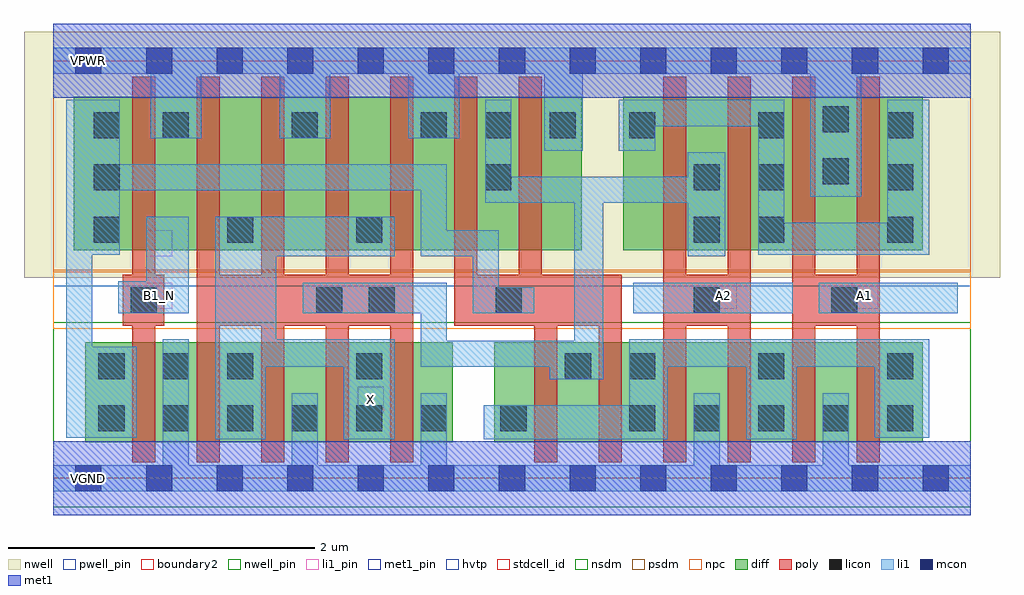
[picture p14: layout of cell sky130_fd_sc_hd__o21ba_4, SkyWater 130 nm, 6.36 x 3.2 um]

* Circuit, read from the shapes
.subckt sky130_fd_sc_hd__o21ba_4 A1 A2 B1_N VGND VNB VPB VPWR X
XM1 VGND B1_N n1 VNB sky130_fd_pr__nfet_01v8 w=0.65 l=0.15
XM2 X n2 VGND VNB sky130_fd_pr__nfet_01v8 w=0.65 l=0.15 m=4
XM3 n2 n1 n3 VNB sky130_fd_pr__nfet_01v8 w=0.65 l=0.15 m=2
XM4 VGND A2 n3 VNB sky130_fd_pr__nfet_01v8 w=0.65 l=0.15 m=2
XM5 VGND A1 n3 VNB sky130_fd_pr__nfet_01v8 w=0.65 l=0.15 m=2
XM6 VPWR B1_N n1 VPB sky130_fd_pr__pfet_01v8_hvt w=1 l=0.15
XM7 X n2 VPWR VPB sky130_fd_pr__pfet_01v8_hvt w=1 l=0.15 m=4
XM8 n2 n1 VPWR VPB sky130_fd_pr__pfet_01v8_hvt w=1 l=0.15 m=2
XM9 n2 A2 n4 VPB sky130_fd_pr__pfet_01v8_hvt w=1 l=0.15 m=2
XM10 VPWR A1 n4 VPB sky130_fd_pr__pfet_01v8_hvt w=1 l=0.15 m=2
.ends

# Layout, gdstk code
import gdstk
lib = gdstk.Library(unit=1e-6, precision=1e-09)
def R(c, l, rs):  # rectangles x0, y0, x1, y1
    for r in rs: c.add(gdstk.rectangle(r[:2], r[2:], *l))
def A(c, l, x, y, w, h, nx, ny, dx, dy):  # array of equal rectangles
    R(c, l, [(x+i*dx, y+j*dy, x+i*dx+w, y+j*dy+h) for i in range(nx) for j in range(ny)])
def P(c, l, *ps):  # polygons
    for p in ps: c.add(gdstk.Polygon(p, *l))
nwell_pin = (64, 16)
nwell = (64, 20)
diff = (65, 20)
poly = (66, 20)
licon = (66, 44)
li1_pin = (67, 16)
li1 = (67, 20)
mcon = (67, 44)
met1_pin = (68, 16)
met1 = (68, 20)
hvtp = (78, 44)
stdcell_id = (81, 4)
nsdm = (93, 44)
psdm = (94, 20)
npc = (95, 20)
pwell_pin = (122, 16)
boundary2 = (236, 0)

sky130_fd_sc_hd__o21ba_4 = lib.new_cell('sky130_fd_sc_hd__o21ba_4')
R(sky130_fd_sc_hd__o21ba_4, nwell_pin, [(0.145,2.635,0.315,2.805)])
R(sky130_fd_sc_hd__o21ba_4, nwell, [(-0.19,1.305,6.17,2.91)])
R(sky130_fd_sc_hd__o21ba_4, diff, [(0.21,0.235,2.605,0.885), (2.875,0.235,5.665,0.885), (0.135,1.485,3.445,2.485), (3.715,1.485,5.665,2.485)])
P(sky130_fd_sc_hd__o21ba_4, poly, [(3.975,0.105),(3.975,2.615),(4.125,2.615),(4.125,1.325),(4.395,1.325),(4.395,2.615),(4.545,2.615),(4.545,0.105),(4.395,0.105),(4.395,0.995),(4.125,0.995),(4.125,0.105)],
  [(4.815,0.105),(4.815,2.615),(4.965,2.615),(4.965,1.325),(5.235,1.325),(5.235,2.615),(5.385,2.615),(5.385,0.105),(5.235,0.105),(5.235,0.995),(4.965,0.995),(4.965,0.105)],
  [(0.935,0.105),(0.935,2.615),(1.085,2.615),(1.085,1.325),(1.355,1.325),(1.355,2.615),(1.505,2.615),(1.505,1.325),(1.775,1.325),(1.775,2.615),(1.925,2.615),(1.925,1.325),(2.195,1.325),(2.195,2.615),(2.345,2.615),(2.345,0.105),(2.195,0.105),(2.195,0.995),(1.925,0.995),(1.925,0.105),(1.775,0.105),(1.775,0.995),(1.505,0.995),(1.505,0.105),(1.355,0.105),(1.355,0.995),(1.085,0.995),(1.085,0.105)],
  [(3.135,0.105),(3.135,0.995),(2.615,0.995),(2.615,2.615),(2.765,2.615),(2.765,1.325),(3.035,1.325),(3.035,2.615),(3.185,2.615),(3.185,1.325),(3.705,1.325),(3.705,0.105),(3.555,0.105),(3.555,0.995),(3.285,0.995),(3.285,0.105)],
  [(0.515,0.105),(0.515,0.995),(0.455,0.995),(0.455,1.325),(0.515,1.325),(0.515,2.615),(0.665,2.615),(0.665,1.325),(0.725,1.325),(0.725,0.995),(0.665,0.995),(0.665,0.105)])
A(sky130_fd_sc_hd__o21ba_4, licon, 0.295, 0.305, 0.17, 0.17, 6, 1, 0.42, 0)
A(sky130_fd_sc_hd__o21ba_4, licon, 3.755, 0.305, 0.17, 0.17, 5, 1, 0.42, 0)
A(sky130_fd_sc_hd__o21ba_4, licon, 0.295, 0.645, 0.17, 0.17, 3, 1, 0.42, 0)
A(sky130_fd_sc_hd__o21ba_4, licon, 3.755, 0.645, 0.17, 0.17, 3, 2, 0.84, 1.57)
A(sky130_fd_sc_hd__o21ba_4, licon, 0.265, 1.535, 0.17, 0.17, 1, 3, 0, 0.34)
A(sky130_fd_sc_hd__o21ba_4, licon, 0.715, 2.215, 0.17, 0.17, 3, 1, 0.84, 0)
R(sky130_fd_sc_hd__o21ba_4, licon, [(2.915,0.305,3.085,0.475), (1.975,0.645,2.145,0.815), (3.335,0.645,3.505,0.815), (0.505,1.075,0.675,1.245), (1.715,1.075,1.885,1.245), (2.055,1.075,2.225,1.245), (2.885,1.075,3.055,1.245), (4.175,1.075,4.345,1.245), (5.07,1.075,5.24,1.245), (1.135,1.535,1.305,1.705), (1.975,1.535,2.145,1.705), (4.175,1.535,4.345,1.705), (4.595,1.535,4.765,1.705), (5.435,1.535,5.605,1.705), (2.815,1.875,2.985,2.045), (4.175,1.875,4.345,2.045), (4.595,1.875,4.765,2.045), (5.435,1.875,5.605,2.045), (5.015,1.915,5.185,2.085), (2.815,2.215,2.985,2.385), (3.235,2.215,3.405,2.385), (5.015,2.255,5.185,2.425)])
R(sky130_fd_sc_hd__o21ba_4, li1_pin, [(1.985,0.425,2.155,0.595), (0.605,1.105,0.775,1.275), (4.285,1.105,4.455,1.275), (5.205,1.105,5.375,1.275), (0.605,1.445,0.775,1.615)])
R(sky130_fd_sc_hd__o21ba_4, li1, [(3.78,1.075,4.82,1.275), (4.99,1.075,5.895,1.275)])
P(sky130_fd_sc_hd__o21ba_4, li1, [(0.425,1.075),(0.425,1.285),(0.605,1.285),(0.605,1.705),(0.885,1.705),(0.885,1.075)],
  [(1.055,0.255),(1.055,1.705),(2.225,1.705),(2.225,1.445),(1.455,1.445),(1.455,0.905),(2.225,0.905),(2.225,0.255),(1.895,0.255),(1.895,0.725),(1.385,0.725),(1.385,0.255)],
  [(0.085,0.265),(0.085,2.465),(0.435,2.465),(0.435,2.045),(2.565,2.045),(2.565,1.615),(2.905,1.615),(2.905,1.245),(3.135,1.245),(3.135,1.075),(2.735,1.075),(2.735,1.445),(2.395,1.445),(2.395,1.875),(0.435,1.875),(0.435,1.455),(0.255,1.455),(0.255,0.855),(0.545,0.855),(0.545,0.265)],
  [(0,-0.085),(0,0.085),(0.715,0.085),(0.715,0.905),(0.885,0.905),(0.885,0.085),(1.555,0.085),(1.555,0.555),(1.725,0.555),(1.725,0.085),(2.395,0.085),(2.395,0.555),(2.565,0.555),(2.565,0.085),(4.175,0.085),(4.175,0.555),(4.345,0.555),(4.345,0.085),(5.015,0.085),(5.015,0.555),(5.185,0.555),(5.185,0.085),(5.98,0.085),(5.98,-0.085)],
  [(4.935,1.835),(4.935,2.635),(3.45,2.635),(3.45,2.135),(3.2,2.135),(3.2,2.635),(2.645,2.635),(2.645,2.215),(2.315,2.215),(2.315,2.635),(1.805,2.635),(1.805,2.215),(1.475,2.215),(1.475,2.635),(0.965,2.635),(0.965,2.215),(0.635,2.215),(0.635,2.635),(0,2.635),(0,2.805),(5.98,2.805),(5.98,2.635),(5.265,2.635),(5.265,1.835)],
  [(3.235,0.645),(3.235,0.725),(2.395,0.725),(2.395,1.075),(1.625,1.075),(1.625,1.275),(2.565,1.275),(2.565,0.895),(3.395,0.895),(3.395,1.795),(2.815,1.795),(2.815,2.465),(2.985,2.465),(2.985,1.965),(4.135,1.965),(4.135,2.125),(4.38,2.125),(4.38,1.445),(4.135,1.445),(4.135,1.795),(3.585,1.795),(3.585,0.645)],
  [(4.595,1.455),(4.595,2.295),(3.925,2.295),(3.925,2.135),(3.685,2.135),(3.685,2.465),(4.765,2.465),(4.765,1.665),(5.435,1.665),(5.435,2.465),(5.71,2.465),(5.71,1.455)],
  [(2.805,0.255),(2.805,0.475),(3.755,0.475),(3.755,0.905),(5.71,0.905),(5.71,0.265),(5.355,0.265),(5.355,0.725),(4.845,0.725),(4.845,0.255),(4.515,0.255),(4.515,0.725),(4.005,0.725),(4.005,0.255)])
A(sky130_fd_sc_hd__o21ba_4, mcon, 0.145, -0.085, 0.17, 0.17, 13, 2, 0.46, 2.72)
R(sky130_fd_sc_hd__o21ba_4, met1_pin, [(0.145,-0.085,0.315,0.085), (0.145,2.635,0.315,2.805)])
R(sky130_fd_sc_hd__o21ba_4, hvtp, [(0,1.25,5.98,2.72)])
R(sky130_fd_sc_hd__o21ba_4, stdcell_id, [(0,0,5.98,2.72)])
R(sky130_fd_sc_hd__o21ba_4, nsdm, [(0,-0.19,5.98,1.015)])
R(sky130_fd_sc_hd__o21ba_4, psdm, [(0,1.355,5.98,2.91)])
R(sky130_fd_sc_hd__o21ba_4, npc, [(0,0.975,5.98,1.345)])
R(sky130_fd_sc_hd__o21ba_4, pwell_pin, [(0.145,-0.085,0.315,0.085)])
R(sky130_fd_sc_hd__o21ba_4, boundary2, [(0,0,5.98,2.72)])
sky130_fd_sc_hd__o21ba_4.add(gdstk.FlexPath([(0,2.72),(5.98,2.72)], 0.48, ends="flush", simple_path=True, layer=68, datatype=20))  # met1
sky130_fd_sc_hd__o21ba_4.add(gdstk.FlexPath([(0,0),(5.98,0)], 0.48, ends="flush", simple_path=True, layer=68, datatype=20))  # met1
sky130_fd_sc_hd__o21ba_4.add(gdstk.Label('B1_N', (0.69,1.19), layer=67, texttype=5))
sky130_fd_sc_hd__o21ba_4.add(gdstk.Label('A1', (5.29,1.19), layer=67, texttype=5))
sky130_fd_sc_hd__o21ba_4.add(gdstk.Label('A2', (4.37,1.19), layer=67, texttype=5))
sky130_fd_sc_hd__o21ba_4.add(gdstk.Label('X', (2.07,0.51), layer=67, texttype=5))
sky130_fd_sc_hd__o21ba_4.add(gdstk.Label('VGND', (0.23,0), layer=68, texttype=5))
sky130_fd_sc_hd__o21ba_4.add(gdstk.Label('VPWR', (0.23,2.72), layer=68, texttype=5))
sky130_fd_sc_hd__o21ba_4.add(gdstk.Label('VPB', (0.23,2.72), layer=64, texttype=5))
sky130_fd_sc_hd__o21ba_4.add(gdstk.Label('VNB', (0.23,0), layer=64, texttype=59))
sky130_fd_sc_hd__o21ba_4.add(gdstk.Label('o21ba_4', (0,0), layer=83, texttype=44))

lib.write_gds('sky130_fd_sc_hd__o21ba_4.gds')
